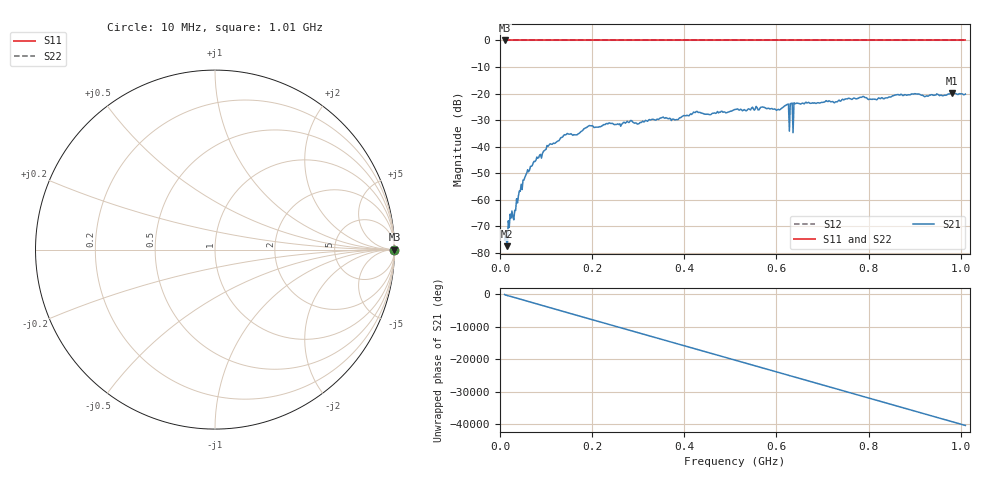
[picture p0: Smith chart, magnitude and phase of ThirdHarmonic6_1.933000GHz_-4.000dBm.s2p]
! 8/16/2025 11:17:31 PM
! C:\ANRITSUVNA\TEMP\TEMP.S2P
! CHANNEL.1
! TR.MEASUREMENT
! RAW.DATA
! RF.CORRECTION.OFF
! AVERAGING.OFF
! IF.BANDWIDTH: 5KHZ
! SWEEPTYPE:  FREQ.SWEEP(Linear)
! Reference Plane Port Info
! PORT:  PORT1  PORT2
! DISTANCE:  0  m  0  m
! TIME:  0  s  0  s
! PHASE.OFFSET:  0  deg.  0  deg.
! LOSS:  0  dB  0  dB
! REF.LOSS:  0  dB  0  dB
! REF.FREQ:  0  Hz  0  Hz
! Power Info
! POWER:  -20  dBm  -20  dBm
! EFF.POWER:  -20  dBm  -20  dBm
! SOURCE.ATTEN:  0  dB  0  dB
! TEST.ATTEN:  0  dB  0  dB
# GHZ S RI R 50.0
! FREQ.GHZ  S11RE  S11IM  S21RE  S21IM  S12RE  S12IM  S22RE  S22IM
!; PortSelection: Port_12
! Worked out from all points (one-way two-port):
!   501 points, 10 MHz to 1.01 GHz, reference 50 ohm
!   highest |S21| = -19.81 dB at 980 MHz (marker M1); lowest = -77.4 dB at 16 MHz (marker M2)
!   lowest |S11| = 0.0 dB at 10 MHz (marker M3)
!   |S11| at or under -10 dB: nowhere
!   |S22| runs from 0.0 to 0.0 dB; largest |S21 - S12| = 1.1
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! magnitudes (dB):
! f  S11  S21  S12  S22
! 10 MHz  0.0  -75.1  0.0  0.0
! 16 MHz  0.0  -77.4  0.0  0.0
! 22 MHz  0.0  -65.3  0.0  0.0
! 32 MHz  0.0  -63.9  0.0  0.0
! 54 MHz  0.0  -51.5  0.0  0.0
! 76 MHz  0.0  -45.6  0.0  0.0
! 106 MHz  0.0  -39.5  0.0  0.0
! 178 MHz  0.0  -34.0  0.0  0.0
! 196 MHz  0.0  -32.1  0.0  0.0
! 344 MHz  0.0  -29.7  0.0  0.0
! 510 MHz  0.0  -26.0  0.0  0.0
! 604 MHz  0.0  -25.9  0.0  0.0
! 622 MHz  0.0  -24.2  0.0  0.0
! 624 MHz  0.0  -24.0  0.0  0.0
! 630 MHz  0.0  -23.8  0.0  0.0
! 632 MHz  0.0  -23.7  0.0  0.0
! 640 MHz  0.0  -23.8  0.0  0.0
! 642 MHz  0.0  -23.7  0.0  0.0
! 678 MHz  0.0  -23.5  0.0  0.0
! 844 MHz  0.0  -21.3  0.0  0.0
! 980 MHz  0.0  -19.8  0.0  0.0
! 1.01 GHz  0.0  -20.2  0.0  0.0
